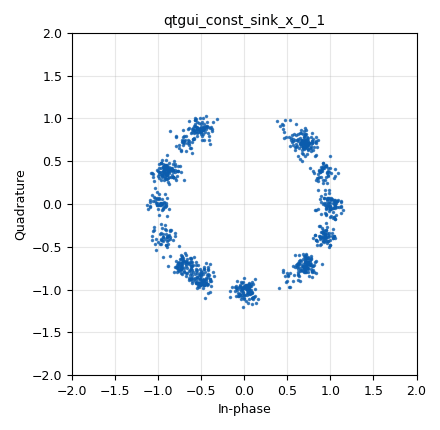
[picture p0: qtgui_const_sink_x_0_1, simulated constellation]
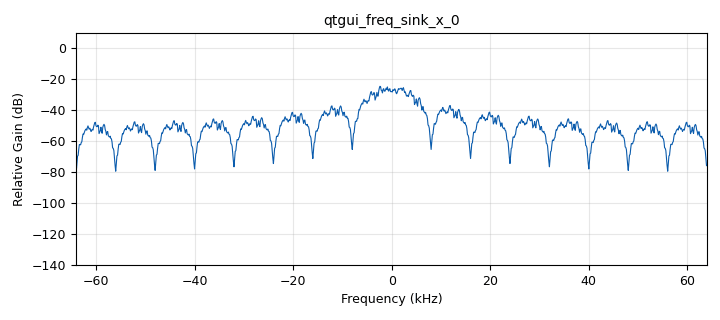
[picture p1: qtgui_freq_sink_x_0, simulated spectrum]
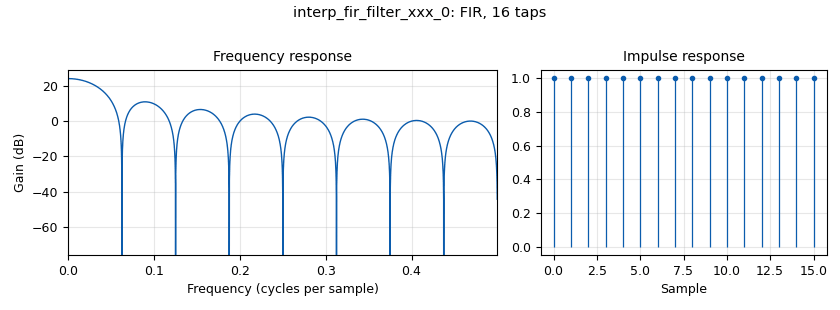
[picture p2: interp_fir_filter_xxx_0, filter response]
options:
  parameters:
    author: MANUEL_VALENTINA
    generate_options: qt_gui
    id: constelacion16psk
    output_language: python
    title: constelacion16psk
  states: {}

blocks:
- name: Constelacion
  id: variable
  parameters:
    value: (1 + 0j, 0.9239 + 0.3826j, 0.7071 + 0.7071j, 0.5091 + 0.866j,0 - 1j, -0.5091 + 0.866j,-0.7071 + 0.7071j, -0.9239 + 0.3826j,-1 + 0j, -0.9239 - 0.3826j,-0.7071 - 0.7071j, -0.5091 - 0.866j,0 + 1j, 0.5091 - 0.866j,0.7071 - 0.7071j, 0.9239 - 0.3826j)
  states: {}
- name: M
  id: variable
  parameters:
    value: '16'
  states: {}
- name: Nbps
  id: variable
  parameters:
    value: int(math.log(M,2))
  states: {}
- name: Rb
  id: variable
  parameters:
    value: '32000'
  states: {}
- name: Rs
  id: variable
  parameters:
    value: Rb/Nbps
  states: {}
- name: Sps
  id: variable
  parameters:
    value: len(h)
  states: {}
- name: h
  id: variable
  parameters:
    value: (1,1,1,1,1,1,1,1,1,1,1,1,1,1,1,1)
  states: {}
- name: samp_rate
  id: variable
  parameters:
    value: Rs*Sps
  states: {}
- name: analog_noise_source_x_0
  id: analog_noise_source_x
  parameters:
    amp: '0.1'
    noise_type: analog.GR_GAUSSIAN
    seed: '0'
    type: complex
  states: {}
- name: analog_random_source_x_0
  id: analog_random_source_x
  parameters:
    max: '2'
    min: '0'
    num_samps: '1000000'
    repeat: 'True'
    type: byte
  states: {}
- name: blocks_add_xx_0
  id: blocks_add_xx
  parameters:
    type: complex
  states: {}
- name: blocks_null_sink_0
  id: blocks_null_sink
  parameters:
    type: complex
  states: {}
- name: blocks_repack_bits_bb_0
  id: blocks_repack_bits_bb
  parameters:
    endianness: gr.GR_LSB_FIRST
    k: '1'
    l: Nbps
  states: {}
- name: blocks_throttle_0
  id: blocks_throttle
  parameters:
    samples_per_second: samp_rate
    type: complex
  states: {}
- name: digital_chunks_to_symbols_xx_0
  id: digital_chunks_to_symbols_xx
  parameters:
    dimension: '1'
    in_type: byte
    out_type: complex
    symbol_table: Constelacion
  states: {}
- name: import_0_0
  id: import
  parameters:
    imports: import numpy as np
  states: {}
- name: import_1
  id: import
  parameters:
    imports: import math
  states: {}
- name: interp_fir_filter_xxx_0
  id: interp_fir_filter_xxx
  parameters:
    interp: Sps
    taps: h
    type: ccc
  states: {}
- name: qtgui_const_sink_x_0_1
  id: qtgui_const_sink_x
  parameters:
    size: '1024'
    type: complex
  states: {}
- name: qtgui_freq_sink_x_0
  id: qtgui_freq_sink_x
  parameters:
    average: '0.05'
    bw: samp_rate
    fc: '0'
    fftsize: '1024'
    type: complex
  states: {}

connections:
- [analog_noise_source_x_0, '0', blocks_add_xx_0, '1']
- [analog_random_source_x_0, '0', blocks_repack_bits_bb_0, '0']
- [blocks_add_xx_0, '0', blocks_null_sink_0, '0']
- [blocks_add_xx_0, '0', qtgui_const_sink_x_0_1, '0']
- [blocks_repack_bits_bb_0, '0', digital_chunks_to_symbols_xx_0, '0']
- [blocks_throttle_0, '0', blocks_add_xx_0, '0']
- [digital_chunks_to_symbols_xx_0, '0', interp_fir_filter_xxx_0, '0']
- [interp_fir_filter_xxx_0, '0', blocks_throttle_0, '0']
- [interp_fir_filter_xxx_0, '0', qtgui_freq_sink_x_0, '0']

metadata:
  file_format: 1
  grc_version: 3.10.9.2
